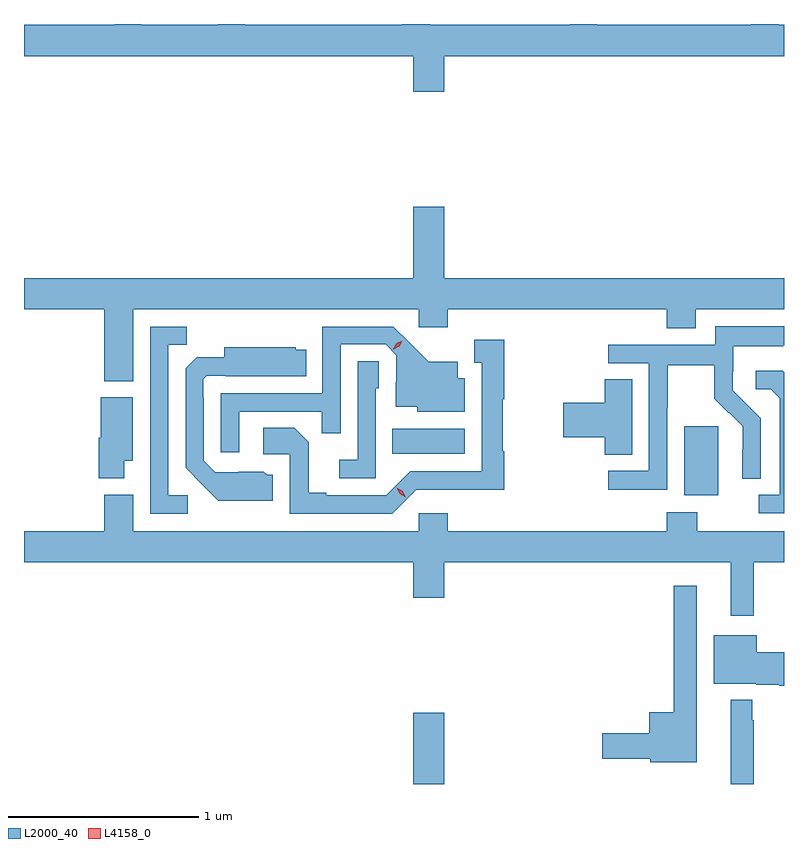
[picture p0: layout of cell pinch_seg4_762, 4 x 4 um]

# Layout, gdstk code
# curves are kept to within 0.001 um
import gdstk
lib = gdstk.Library(unit=1e-6, precision=1e-09)
def R(c, l, rs):  # rectangles x0, y0, x1, y1
    for r in rs: c.add(gdstk.rectangle(r[:2], r[2:], *l))
def P(c, l, *ps):  # polygons
    for p in ps: c.add(gdstk.Polygon(p, *l))
L2000_40 = (2000, 40)
L4158_0 = (4158, 0)

pinch_seg4_762 = lib.new_cell('pinch_seg4_762')
R(pinch_seg4_762, L2000_40, [(788.384,812.969,788.548,813.343), (789.809,814.49,789.988,814.851), (788.272,814.706,788.656,814.84)])
P(pinch_seg4_762, L2000_40, [(788.548,816.8),(790.335,816.8),(790.335,816.964),(790.308,816.964),(790.308,816.969),(790.162,816.969),(790.162,816.964),(789.349,816.964),(789.349,816.969),(789.209,816.969),(789.209,816.964),(788.473,816.964),(788.473,816.969),(788.326,816.969),(788.326,816.964),(787.497,816.964),(787.497,816.969),(787.358,816.969),(787.358,816.964),(786.952,816.964),(786.952,816.969),(786.812,816.969),(786.812,816.964),(786.335,816.964),(786.335,816.8),(788.384,816.8),(788.384,816.612),(788.548,816.612)],
  [(786.91,815.468),(788.412,815.468),(788.412,815.373),(788.564,815.373),(788.564,815.468),(789.719,815.468),(789.719,815.369),(789.871,815.369),(789.871,815.468),(790.335,815.468),(790.335,815.632),(788.548,815.632),(788.548,816.007),(788.384,816.007),(788.384,815.632),(786.335,815.632),(786.335,815.468),(786.758,815.468),(786.758,815.09),(786.91,815.09)],
  [(789.72,814.948),(789.723,814.948),(789.723,815.172),(789.967,815.172),(789.967,814.997),(790.044,814.92),(790.047,814.923),(790.118,814.853),(790.118,814.73),(790.116,814.73),(790.116,814.576),(790.212,814.576),(790.212,814.894),(790.066,815.042),(790.066,815.139),(790.068,815.139),(790.068,815.273),(790.331,815.273),(790.331,815.277),(790.335,815.277),(790.335,815.377),(789.972,815.377),(789.972,815.28),(789.411,815.28),(789.411,815.184),(789.624,815.184),(789.624,814.617),(789.411,814.617),(789.411,814.519),(789.72,814.519)],
  [(787.198,814.488),(787.095,814.488),(787.095,815.281),(787.191,815.281),(787.191,815.376),(786.999,815.376),(786.999,814.392),(787.198,814.392)],
  [(787.467,814.929),(787.903,814.929),(787.903,814.816),(788.001,814.816),(788.001,815.283),(788.238,815.283),(788.295,815.226),(788.295,815.084),(788.291,815.084),(788.291,814.955),(788.406,814.955),(788.406,814.928),(788.656,814.928),(788.656,815.104),(788.617,815.104),(788.617,815.191),(788.465,815.191),(788.278,815.376),(787.905,815.376),(787.905,815.025),(787.371,815.025),(787.371,814.716),(787.467,814.716)],
  [(788.4,814.518),(788.863,814.517),(788.863,814.721),(788.855,814.721),(788.855,814.995),(788.863,814.995),(788.863,815.308),(788.705,815.308),(788.705,815.187),(788.744,815.187),(788.744,814.614),(788.367,814.614),(788.241,814.488),(787.927,814.488),(787.927,814.501),(787.833,814.501),(787.833,814.768),(787.757,814.844),(787.593,814.844),(787.593,814.704),(787.734,814.704),(787.734,814.392),(788.274,814.392)],
  [(787.645,814.596),(787.614,814.596),(787.598,814.612),(787.341,814.611),(787.281,814.671),(787.281,815),(787.278,815),(787.278,815.1),(787.296,815.118),(787.396,815.118),(787.396,815.114),(787.82,815.114),(787.82,815.254),(787.764,815.254),(787.764,815.269),(787.388,815.269),(787.388,815.215),(787.244,815.215),(787.185,815.156),(787.185,814.634),(787.357,814.46),(787.645,814.46)],
  [(788.187,815.052),(788.202,815.052),(788.202,815.195),(788.091,815.195),(788.091,814.675),(787.995,814.675),(787.995,814.578),(788.187,814.578)],
  [(790.335,815.136),(790.328,815.143),(790.185,815.143),(790.185,815.046),(790.266,815.046),(790.313,814.999),(790.313,814.491),(790.203,814.491),(790.203,814.395),(790.335,814.395)],
  [(789.535,815.099),(789.392,815.099),(789.392,814.976),(789.174,814.976),(789.174,814.793),(789.392,814.793),(789.392,814.702),(789.535,814.702)],
  [(786.862,814.67),(786.907,814.67),(786.907,815.005),(786.74,815.005),(786.74,814.791),(786.728,814.791),(786.728,814.577),(786.862,814.577)],
  [(790.177,814.136),(790.335,814.136),(790.335,814.3),(789.879,814.3),(789.879,814.399),(789.719,814.399),(789.719,814.3),(788.564,814.3),(788.564,814.393),(788.412,814.393),(788.412,814.3),(786.91,814.3),(786.91,814.492),(786.758,814.492),(786.758,814.3),(786.335,814.3),(786.335,814.136),(788.384,814.136),(788.384,813.948),(788.548,813.948),(788.548,814.136),(790.055,814.136),(790.055,813.855),(790.177,813.855)],
  [(789.877,814.012),(789.756,814.012),(789.756,813.346),(789.626,813.346),(789.626,813.236),(789.378,813.236),(789.378,813.101),(789.63,813.101),(789.63,813.083),(789.877,813.083)],
  [(790.335,813.663),(790.192,813.663),(790.192,813.751),(789.965,813.751),(789.965,813.497),(790.188,813.497),(790.188,813.491),(790.31,813.491),(790.31,813.485),(790.335,813.485)],
  [(790.177,813.305),(790.169,813.305),(790.169,813.412),(790.055,813.412),(790.055,812.969),(790.177,812.969)])
P(pinch_seg4_762, L4158_0, [(788.345,814.478),(788.313,814.497),(788.296,814.529),(788.296,814.529),(788.296,814.529),(788.328,814.51),(788.345,814.478),(788.345,814.478)],
  [(788.279,815.258),(788.279,815.259),(788.296,815.288),(788.327,815.303),(788.327,815.303),(788.327,815.303),(788.31,815.274),(788.28,815.258)])

lib.write_gds('pinch_seg4_762.gds')
